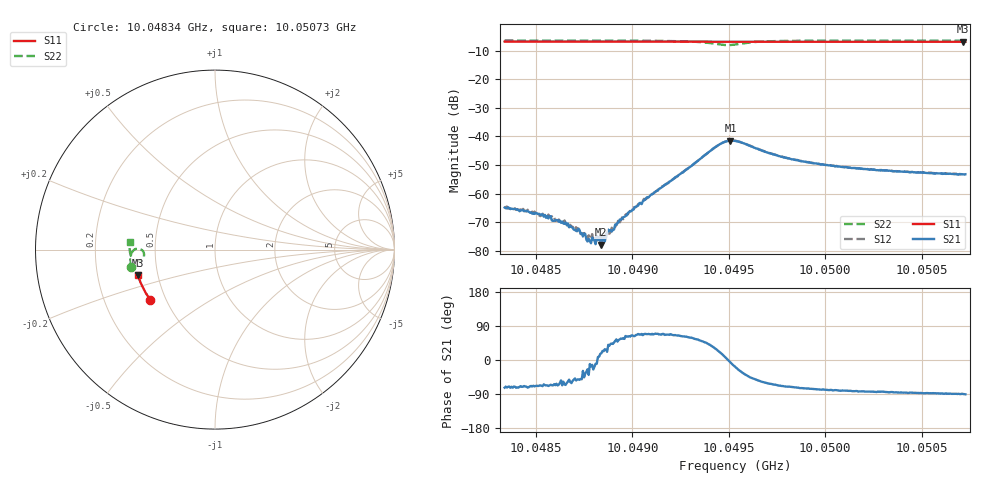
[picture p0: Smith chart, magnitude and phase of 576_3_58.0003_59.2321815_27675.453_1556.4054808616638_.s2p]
#  HZ  S  RI  R  50.00
! Rohde & Schwarz Vector Network Analyzer
! Rohde-Schwarz,ZNB20-2Port,1311601062101988,3.16
! Created: UTC 3/21/2024, 1:16:08 AM
! freq[Hz]  re:S11  im:S11  re:S21  im:S21  re:S12  im:S12  re:S22  im:S22
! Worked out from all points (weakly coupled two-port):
!   401 points, 10.04834 GHz to 10.05073 GHz, reference 50 ohm
!   highest |S21| = -41.47 dB at 10.04951 GHz (marker M1); lowest = -77.9 dB at 10.04884 GHz (marker M2)
!   lowest |S11| = -6.9 dB at 10.05072 GHz (marker M3), VSWR 2.65, Z = 19.3 - j6.87 ohm
!   |S11| at or under -10 dB: nowhere
!   |S22| runs from -8.0 to -6.4 dB; largest |S21 - S12| = 0.00061
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1.0048337e10  -0.36 -0.2804  0.000168 -0.000546  0.0002 -0.000557  -0.4674 -0.0967
1.004851e10  -0.3668 -0.271  0.000159 -0.000409  0.000189 -0.000401  -0.4691 -0.0842
1.0048576e10  -0.3692 -0.2675  0.000169 -0.000366  0.000188 -0.000341  -0.4697 -0.0794
1.0048654e10  -0.372 -0.2631  0.000128 -0.000285  0.000166 -0.000252  -0.4707 -0.0734
1.0048737e10  -0.375 -0.2586  0.000129 -0.000158  0.000162 -0.000111  -0.4711 -0.0669
1.0048773e10  -0.3764 -0.2567  0.000125 -0.000103  0.000171 -7.57e-05  -0.4712 -0.064
1.0048839e10  -0.3788 -0.253  0.000122 3.91e-05  0.000112 4.49e-05  -0.4714 -0.0585
1.0048851e10  -0.379 -0.2523  0.000167 7.22e-05  0.000144 6.94e-05  -0.4714 -0.0576
1.0048857e10  -0.3792 -0.2519  0.000128 6.96e-05  0.000141 0.000119  -0.4715 -0.0572
1.0048875e10  -0.3798 -0.251  0.00018 0.000152  0.000165 0.000111  -0.4716 -0.0555
1.0048893e10  -0.3805 -0.25  0.000159 0.000149  0.000161 0.000195  -0.4714 -0.0539
1.0048923e10  -0.3816 -0.2483  0.000201 0.000229  0.000172 0.000258  -0.4714 -0.0512
1.0048994e10  -0.3841 -0.2442  0.000209 0.000445  0.000224 0.000467  -0.4711 -0.0446
1.0049138e10  -0.3888 -0.236  0.000464 0.00111  0.000379 0.00113  -0.4688 -0.0292
1.0049431e10  -0.3974 -0.2189  0.00564 0.00325  0.00544 0.00364  -0.4164 0.00313
1.0049508e10  -0.3993 -0.2148  0.00839 -0.00095  0.00848 -0.000376  -0.3957 -0.0359
1.0049532e10  -0.4 -0.2134  0.00796 -0.00255  0.00817 -0.00201  -0.4022 -0.0498
1.0049771e10  -0.4075 -0.1997  0.00162 -0.0041  0.00192 -0.00404  -0.4656 -0.0405
1.0049933e10  -0.4118 -0.1899  0.000807 -0.00332  0.00103 -0.00331  -0.4724 -0.021
1.0050333e10  -0.4215 -0.1654  0.000198 -0.00252  0.000358 -0.0025  -0.4752 0.014
1.0050716e10  -0.4295 -0.1417  7.06e-06 -0.00218  0.000146 -0.00218  -0.474 0.042
1.0050727e10  -0.4298 -0.141  -2.49e-05 -0.00218  0.00012 -0.00217  -0.4739 0.0428
